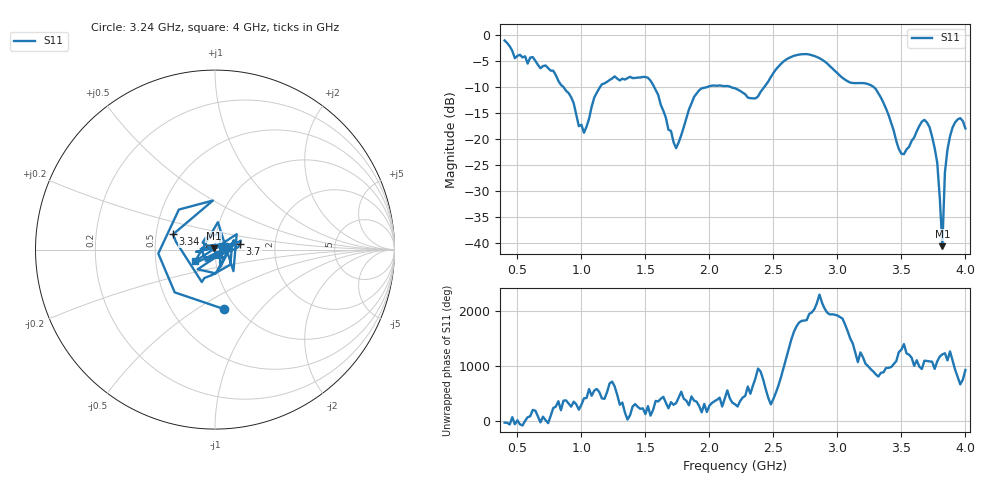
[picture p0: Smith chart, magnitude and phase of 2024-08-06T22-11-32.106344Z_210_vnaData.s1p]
!Created with skrf (http://scikit-rf.org).
# Hz S RI R 50.0
!freq ReS11 ImS11
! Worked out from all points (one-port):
!   181 points, 400 MHz to 4 GHz, reference 50 ohm
!   lowest |S11| = -40.6 dB at 3.82 GHz (marker M1), VSWR 1.02, Z = 49.4 + j0.675 ohm
!   |S11| at or under -10 dB: 857.4 MHz to 1.148 GHz (290.2 MHz wide, 28.9 % of centre); 1.568 GHz to 1.99 GHz (422.1 MHz wide, 23.7 % of centre); 3.281 GHz to end of sweep (the widest 3 of 4)
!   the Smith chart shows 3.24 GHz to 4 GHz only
!   S11 on the Smith chart (normalised r, x): 3.24 GHz: 0.88, -0.65; 3.34 GHz: 0.61, +0.11; 3.7 GHz: 1.32, +0.08; 4 GHz: 0.80, -0.10
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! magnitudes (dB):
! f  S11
! 400 MHz  -1.1
! 480 MHz  -4.5
! 620 MHz  -4.3
! 860 MHz  -10.1
! 1.02 GHz  -18.8
! 1.16 GHz  -9.5
! 1.3 GHz  -8.8
! 1.52 GHz  -8.3
! 1.6 GHz  -11.6
! 1.74 GHz  -21.8
! 1.76 GHz  -20.7
! 1.92 GHz  -10.7
! 2.2 GHz  -10.3
! 2.36 GHz  -12.2
! 2.66 GHz  -4.1
! 2.86 GHz  -4.5
! 3.1 GHz  -9.2
! 3.24 GHz  -9.5
! 3.34 GHz  -12.1
! 3.5 GHz  -22.8
! 3.56 GHz  -21.5
! 3.7 GHz  -16.9
! 3.78 GHz  -24.6
! 3.82 GHz  -40.6
! 3.84 GHz  -26.4
! 3.88 GHz  -19.5
! 3.94 GHz  -16.3
! 4 GHz  -18.0
